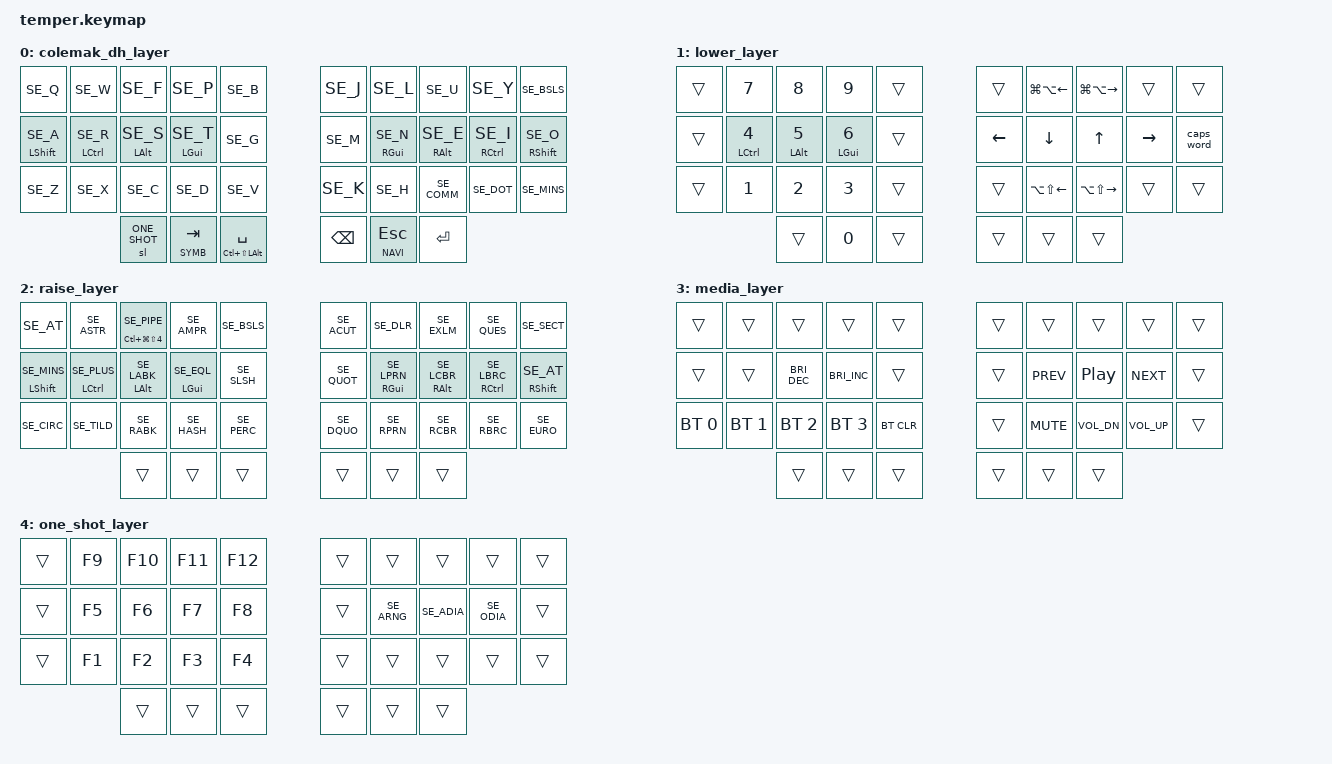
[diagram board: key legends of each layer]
/*
 * Copyright (c) 2020 The ZMK Contributors
 *
 * SPDX-License-Identifier: MIT
 */

#include <behaviors.dtsi>
#include <dt-bindings/zmk/keys.h>
#include <dt-bindings/zmk/bt.h>
#include "keys_se.h"

#define COLEMAK   0
#define NAVI      1
#define SYMB      2
#define MEDIA     3
#define ONE_SHOT  4

// key positions
#define RIGHT_HAND 5 6 7 8 9 15 16 17 18 19 25 26 27 28 29
#define LEFT_HAND 0 1 2 3 4 10 11 12 13 14 20 21 22 23 24
#define THUMBS 30 31 32 33 34 35

#define ___ &trans

// https://github.com/urob/zmk-config#timeless-homerow-mods
#define HM(OTHER_HAND) \
{ \
    compatible = "zmk,behavior-hold-tap"; \
    #binding-cells = <2>; \
    flavor = "balanced"; \
    tapping-term-ms = <280>; \
    quick-tap-ms = <175>; \
    require-prior-idle-ms = <150>; \
    bindings = <&kp>, <&kp>; \
    hold-trigger-key-positions = <OTHER_HAND THUMBS>; \
    hold-trigger-on-release; \
}

&mt {
    flavor = "tap-preferred";
    tapping_term_ms = <200>;
};

/ {
  combos {
    compatible = "zmk,combos";
    combo_layer_three {
      timeout-ms = <50>;
      key-positions = <31 34>;
      bindings = <&mo MEDIA>;
    };
    combo_arng {
      timeout-ms = <50>;
      key-positions = <5 6>;
      bindings = <&kp SE_ARNG>;
      layers = <COLEMAK>;
    };
    combo_adia {
      timeout-ms = <50>;
      key-positions = <6 7>;
      bindings = <&kp SE_ADIA>;
      layers = <COLEMAK>;
    };
    combo_odia {
      timeout-ms = <50>;
      key-positions = <7 8>;
      bindings = <&kp SE_ODIA>;
      layers = <COLEMAK>;
    };
  };
  behaviors {
    lhm: left_homerow_mods HM(RIGHT_HAND);
    rhm: right_homerow_mods HM(LEFT_HAND);
    td: tapdance {
      compatible = "zmk,behavior-hold-tap";
      label = "TAPDANCE";
      #binding-cells = <2>;
      tapping-term-ms = <150>;
      quick_tap_ms = <0>;
      flavor = "tap-preferred";
      bindings = <&kp>, <&kp>;
    };
    los: layer_one_shot {
      compatible = "zmk,behavior-hold-tap";
      label = "LAYER_ONE_SHOT";
      #binding-cells = <2>;
      tapping-term-ms = <200>;
      quick_tap_ms = <0>;
      flavor = "tap-preferred";
      bindings = <&mo>, <&sl>;
    };
    lt: layer_tap {
      compatible = "zmk,behavior-hold-tap";
      label = "LAYER_TAP";
      #binding-cells = <2>;
      tapping-term-ms = <200>;
      quick_tap_ms = <0>;
      flavor = "tap-preferred";
      bindings = <&mo>, <&kp>;
    };
  };
  keymap {
    compatible = "zmk,keymap";

    colemak_dh_layer {
      bindings = <
// ╭─────────────┬─────────────┬─────────────┬─────────────┬─────────────╮   ╭─────────────┬─────────────┬─────────────┬─────────────┬─────────────╮
      &kp SE_Q      &kp SE_W      &kp SE_F      &kp SE_P      &kp SE_B          &kp SE_J      &kp SE_L      &kp SE_U      &kp SE_Y     &kp SE_BSLS
// ├─────────────┼─────────────┼─────────────┼─────────────┼─────────────┤   ├─────────────┼─────────────┼─────────────┼─────────────┼─────────────┤
    &lhm LSHFT SE_A &lhm LCTRL SE_R &lhm LALT SE_S &lhm LGUI SE_T &kp SE_G         &kp SE_M  &rhm RGUI SE_N &rhm RALT SE_E &rhm RCTRL SE_I &rhm RSHFT SE_O
// ├─────────────┼─────────────┼─────────────┼─────────────┼─────────────┤   ├─────────────┼─────────────┼─────────────┼─────────────┼─────────────┤
      &kp SE_Z      &kp SE_X      &kp SE_C      &kp SE_D      &kp SE_V          &kp SE_K      &kp SE_H     &kp SE_COMM    &kp SE_DOT   &kp SE_MINS
// ╰─────────────┴─────────────┼─────────────┼─────────────┼─────────────┤   ├─────────────┼─────────────┼─────────────┼─────────────┴─────────────╯
                                &sl ONE_SHOT   &lt SYMB TAB &mt LC(LS(LALT)) SPACE &kp BSPC  &lt NAVI ESC    &kp RET
//                             ╰─────────────┴─────────────┴─────────────╯   ╰─────────────┴─────────────┴─────────────╯
      >;
    };

    lower_layer {
      bindings = <
// ╭─────────────┬─────────────┬─────────────┬─────────────┬─────────────╮   ╭─────────────┬─────────────┬─────────────┬─────────────┬─────────────╮
         ___      &kp N7         &kp N8         &kp N9         ___                ___     &kp LG(LA(LEFT)) &kp LG(LA(RIGHT))  ___          ___
// ├─────────────┼─────────────┼─────────────┼─────────────┼─────────────┤   ├─────────────┼─────────────┼─────────────┼─────────────┼─────────────┤
         ___      &lhm LCTRL N4  &lhm LALT N5   &lhm LGUI N6   ___              &kp LEFT      &kp DOWN       &kp UP       &kp RIGHT     &caps_word
// ├─────────────┼─────────────┼─────────────┼─────────────┼─────────────┤   ├─────────────┼─────────────┼─────────────┼─────────────┼─────────────┤
         ___       &kp N1        &kp N2         &kp N3         ___                ___     &kp LA(LS(LEFT)) &kp LA(LS(RIGHT))  ___          ___
// ╰─────────────┴─────────────┼─────────────┼─────────────┼─────────────┤   ├─────────────┼─────────────┼─────────────┼─────────────┴─────────────╯
                                    ___         &kp N0         ___                ___           ___           ___
//                             ╰─────────────┴─────────────┴─────────────╯   ╰─────────────┴─────────────┴─────────────╯
      >;
    };

    raise_layer {
      bindings = <
// ╭─────────────┬─────────────┬─────────────┬─────────────┬─────────────╮   ╭─────────────┬─────────────┬─────────────┬─────────────┬─────────────╮
    &kp SE_AT   &kp SE_ASTR  &td LC(LG(LS(N4))) SE_PIPE &kp SE_AMPR &kp SE_BSLS &kp SE_ACUT   &kp SE_DLR    &kp SE_EXLM  &kp SE_QUES   &kp SE_SECT
// ├─────────────┼─────────────┼─────────────┼─────────────┼─────────────┤   ├─────────────┼─────────────┼─────────────┼─────────────┼─────────────┤
    &lhm LSHFT SE_MINS &lhm LCTRL SE_PLUS &lhm LALT SE_LABK &lhm LGUI SE_EQL &kp SE_SLSH &kp SE_QUOT &rhm RGUI SE_LPRN &rhm RALT SE_LCBR &rhm RCTRL SE_LBRC &rhm RSHFT SE_AT
// ├─────────────┼─────────────┼─────────────┼─────────────┼─────────────┤   ├─────────────┼─────────────┼─────────────┼─────────────┼─────────────┤
     &kp SE_CIRC   &kp SE_TILD   &kp SE_RABK   &kp SE_HASH   &kp SE_PERC       &kp SE_DQUO   &kp SE_RPRN   &kp SE_RCBR   &kp SE_RBRC   &kp SE_EURO
// ╰─────────────┴─────────────┼─────────────┼─────────────┼─────────────┤   ├─────────────┼─────────────┼─────────────┼─────────────┴─────────────╯
                                     ___           ___          ___               ___           ___           ___
//                             ╰─────────────┴─────────────┴─────────────╯   ╰─────────────┴─────────────┴─────────────╯
      >;
    };

    media_layer {
      bindings = <
// ╭─────────────┬─────────────┬─────────────┬─────────────┬─────────────╮   ╭─────────────┬─────────────┬─────────────┬─────────────┬─────────────╮
        ___            ___           ___           ___          ___               ___           ___          ___            ___           ___
// ├─────────────┼─────────────┼─────────────┼─────────────┼─────────────┤   ├─────────────┼─────────────┼─────────────┼─────────────┼─────────────┤
        ___            ___     &kp C_BRI_DEC &kp C_BRI_INC      ___               ___        &kp C_PREV     &kp C_PP      &kp C_NEXT      ___
// ├─────────────┼─────────────┼─────────────┼─────────────┼─────────────┤   ├─────────────┼─────────────┼─────────────┼─────────────┼─────────────┤
    &bt BT_SEL 0  &bt BT_SEL 1  &bt BT_SEL 2  &bt BT_SEL 3   &bt BT_CLR           ___        &kp C_MUTE    &kp C_VOL_DN   &kp C_VOL_UP    ___
// ╰─────────────┴─────────────┼─────────────┼─────────────┼─────────────┤   ├─────────────┼─────────────┼─────────────┼─────────────┴─────────────╯
                                     ___           ___          ___               ___           ___          ___
//                             ╰─────────────┴─────────────┴─────────────╯   ╰─────────────┴─────────────┴─────────────╯
      >;
    };

    one_shot_layer {
      bindings = <
// ╭─────────────┬─────────────┬─────────────┬─────────────┬─────────────╮   ╭─────────────┬─────────────┬─────────────┬─────────────┬─────────────╮
          ___        &kp F9        &kp F10      &kp F11       &kp F12              ___           ___           ___           ___          ___
// ├─────────────┼─────────────┼─────────────┼─────────────┼─────────────┤   ├─────────────┼─────────────┼─────────────┼─────────────┼─────────────┤
          ___        &kp F5        &kp F6       &kp F7         &kp F8              ___       &kp SE_ARNG   &kp SE_ADIA   &kp SE_ODIA      ___
// ├─────────────┼─────────────┼─────────────┼─────────────┼─────────────┤   ├─────────────┼─────────────┼─────────────┼─────────────┼─────────────┤
          ___        &kp F1        &kp F2       &kp F3         &kp F4              ___          ___            ___           ___          ___
// ╰─────────────┴─────────────┼─────────────┼─────────────┼─────────────┤   ├─────────────┼─────────────┼─────────────┼─────────────┴─────────────╯
                                     ___          ___           ___                ___          ___            ___
//                             ╰─────────────┴─────────────┴─────────────╯   ╰─────────────┴─────────────┴─────────────╯
      >;
    };
  };
};
